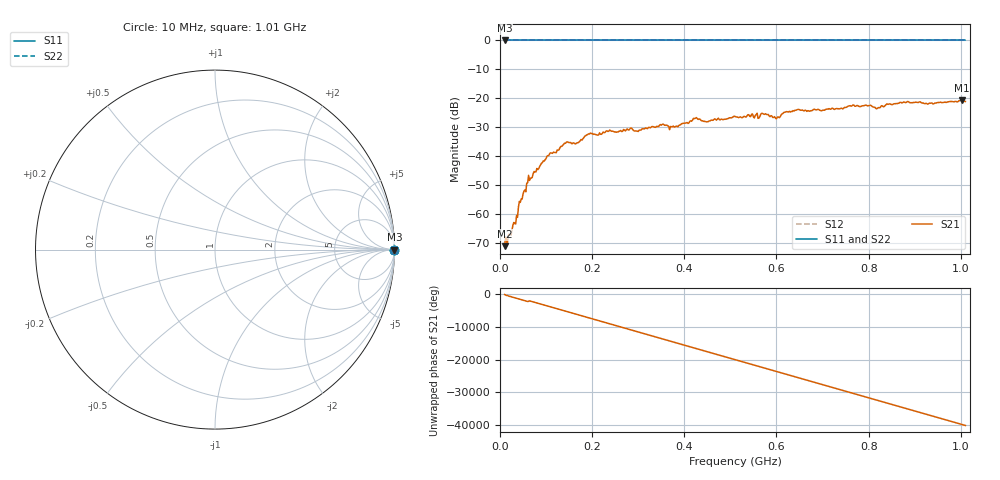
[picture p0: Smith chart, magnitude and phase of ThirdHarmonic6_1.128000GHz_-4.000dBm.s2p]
! 8/16/2025 10:55:51 AM
! C:\ANRITSUVNA\TEMP\TEMP.S2P
! CHANNEL.1
! TR.MEASUREMENT
! RAW.DATA
! RF.CORRECTION.OFF
! AVERAGING.OFF
! IF.BANDWIDTH: 5KHZ
! SWEEPTYPE:  FREQ.SWEEP(Linear)
! Reference Plane Port Info
! PORT:  PORT1  PORT2
! DISTANCE:  0  m  0  m
! TIME:  0  s  0  s
! PHASE.OFFSET:  0  deg.  0  deg.
! LOSS:  0  dB  0  dB
! REF.LOSS:  0  dB  0  dB
! REF.FREQ:  0  Hz  0  Hz
! Power Info
! POWER:  -20  dBm  -20  dBm
! EFF.POWER:  -20  dBm  -20  dBm
! SOURCE.ATTEN:  0  dB  0  dB
! TEST.ATTEN:  0  dB  0  dB
# GHZ S RI R 50.0
! FREQ.GHZ  S11RE  S11IM  S21RE  S21IM  S12RE  S12IM  S22RE  S22IM
!; PortSelection: Port_12
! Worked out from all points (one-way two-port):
!   501 points, 10 MHz to 1.01 GHz, reference 50 ohm
!   highest |S21| = -20.68 dB at 1.002 GHz (marker M1); lowest = -71.1 dB at 10 MHz (marker M2)
!   lowest |S11| = 0.0 dB at 10 MHz (marker M3)
!   |S11| at or under -10 dB: nowhere
!   |S22| runs from 0.0 to 0.0 dB; largest |S21 - S12| = 1.1
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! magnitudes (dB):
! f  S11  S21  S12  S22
! 10 MHz  0.0  -71.1  0.0  0.0
! 34 MHz  0.0  -63.4  0.0  0.0
! 44 MHz  0.0  -56.0  0.0  0.0
! 62 MHz  0.0  -46.6  0.0  0.0
! 106 MHz  0.0  -39.7  0.0  0.0
! 142 MHz  0.0  -35.5  0.0  0.0
! 178 MHz  0.0  -34.4  0.0  0.0
! 196 MHz  0.0  -32.0  0.0  0.0
! 344 MHz  0.0  -29.8  0.0  0.0
! 382 MHz  0.0  -29.7  0.0  0.0
! 424 MHz  0.0  -26.9  0.0  0.0
! 448 MHz  0.0  -28.1  0.0  0.0
! 510 MHz  0.0  -26.3  0.0  0.0
! 572 MHz  0.0  -25.4  0.0  0.0
! 602 MHz  0.0  -26.5  0.0  0.0
! 620 MHz  0.0  -24.7  0.0  0.0
! 678 MHz  0.0  -24.2  0.0  0.0
! 764 MHz  0.0  -22.6  0.0  0.0
! 820 MHz  0.0  -23.3  0.0  0.0
! 844 MHz  0.0  -22.0  0.0  0.0
! 1.002 GHz  0.0  -20.7  0.0  0.0
! 1.01 GHz  0.0  -21.1  0.0  0.0
